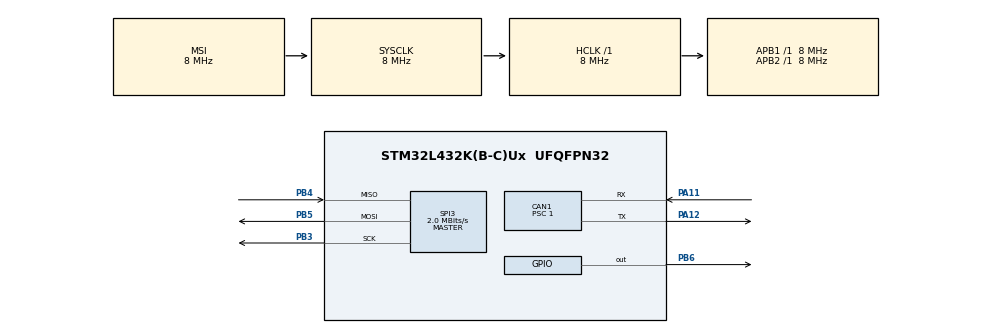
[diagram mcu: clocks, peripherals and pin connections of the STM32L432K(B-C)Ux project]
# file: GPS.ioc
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CAN1.BS1=CAN_BS1_13TQ
CAN1.BS2=CAN_BS2_2TQ
CAN1.CalculateBaudRate=500000
CAN1.CalculateTimeBit=2000
CAN1.CalculateTimeQuantum=125.0
CAN1.Prescaler=1
Mcu.Family=STM32L4
Mcu.Name=STM32L432K(B-C)Ux
Mcu.Package=UFQFPN32
NVIC.PriorityGroup=NVIC_PRIORITYGROUP_4
PA11.Mode=CAN_Activate
PA11.Signal=CAN1_RX
PA12.Mode=CAN_Activate
PA12.Signal=CAN1_TX
PB3\ (JTDO-TRACESWO).Mode=Full_Duplex_Master
PB3\ (JTDO-TRACESWO).Signal=SPI3_SCK
PB4\ (NJTRST).Mode=Full_Duplex_Master
PB4\ (NJTRST).Signal=SPI3_MISO
PB5.Mode=Full_Duplex_Master
PB5.Signal=SPI3_MOSI
PB6.PinState=GPIO_PIN_SET
PB6.Signal=GPIO_Output
ProjectManager.HeapSize=0x200
ProjectManager.StackSize=0x400
ProjectManager.TargetToolchain=STM32CubeIDE
RCC.ADCFreq_Value=32000000
RCC.AHBFreq_Value=8000000
RCC.APB1Freq_Value=8000000
RCC.APB1TimFreq_Value=8000000
RCC.APB2Freq_Value=8000000
RCC.APB2TimFreq_Value=8000000
RCC.CortexFreq_Value=8000000
RCC.HCLKFreq_Value=8000000
RCC.HSE_VALUE=8000000
RCC.HSI48_VALUE=48000000
RCC.HSI_VALUE=16000000
RCC.LSE_VALUE=32768
RCC.MSIClockRange=RCC_MSIRANGE_7
RCC.MSI_VALUE=8000000
RCC.SYSCLKFreq_VALUE=8000000
RCC.USBFreq_Value=32000000
RCC.VCOOutputFreq_Value=64000000
SPI3.BaudRatePrescaler=SPI_BAUDRATEPRESCALER_4
SPI3.CLKPhase=SPI_PHASE_1EDGE
SPI3.CLKPolarity=SPI_POLARITY_LOW
SPI3.CalculateBaudRate=2.0 MBits/s
SPI3.DataSize=SPI_DATASIZE_8BIT
SPI3.Direction=SPI_DIRECTION_2LINES
SPI3.Mode=SPI_MODE_MASTER
SPI3.VirtualType=VM_MASTER
board=custom

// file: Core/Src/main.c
/* USER CODE BEGIN Header */
/**
  ******************************************************************************
  * @file           : main.c
  * @brief          : Main program body
  ******************************************************************************
  * @attention
  *
  * Copyright (c) 2025 STMicroelectronics.
  * All rights reserved.
  *
  * This software is licensed under terms that can be found in the LICENSE file
  * in the root directory of this software component.
  * If no LICENSE file comes with this software, it is provided AS-IS.
  *
  ******************************************************************************
  */
/* USER CODE END Header */
#include "main.h"
#include "can.h"
#include "spi.h"
#include "gpio.h"

/* USER CODE BEGIN Includes */
#include "neo.h"
#include "string.h"
/* USER CODE END Includes */

/* USER CODE BEGIN PV */
uint8_t pollPVT[8] = {0xB5, 0x62, 0x01, 0x07, 0x00, 0x00, 0x08, 0x19};
uint8_t txData[100];
uint8_t rxData[100];
uint16_t len = 100;

uint8_t dummyTx[1000];
uint8_t dummyRx[1000];
uint16_t dummyLen = 1000;
float coords[2];
int status;

CAN_TxHeaderTypeDef NE_Vel_CTXHeader;
HAL_StatusTypeDef NE_Vel_Status;

CAN_TxHeaderTypeDef DHeading_CTXHeader;
HAL_StatusTypeDef DHeading_Status;

#define NE_Vel_ID 0x771;
#define DHeading_ID 0x781;

uint8_t NE_Vel_Tx[8];
uint8_t DHeading_Tx[8];

uint32_t mailbox;
/* USER CODE END PV */

void SystemClock_Config(void);
/* USER CODE BEGIN PFP */
void formNE_Vel_Frame();
void formDHeading_Frame();
/* USER CODE END PFP */

/* USER CODE BEGIN 0 */
void formNE_Vel_Frame() {
	// North Velocity
	NE_Vel_Tx[0] = rxData[54];
	NE_Vel_Tx[1] = rxData[55];
	NE_Vel_Tx[2] = rxData[56];
	NE_Vel_Tx[3] = rxData[57];

	// East Velocity
	NE_Vel_Tx[4] = rxData[58];
	NE_Vel_Tx[5] = rxData[59];
	NE_Vel_Tx[6] = rxData[60];
	NE_Vel_Tx[7] = rxData[61];
}

void formDHeading_Frame() {
	// Down Velocity
	DHeading_Tx[0] = rxData[62];
	DHeading_Tx[1] = rxData[63];
	DHeading_Tx[2] = rxData[64];
	DHeading_Tx[3] = rxData[65];

	// Heading Direction (need to scale by 1e-5)
	DHeading_Tx[4] = rxData[70];
	DHeading_Tx[5] = rxData[71];
	DHeading_Tx[6] = rxData[72];
	DHeading_Tx[7] = rxData[73];
}

/* USER CODE END 0 */

int main(void)
{

  /* MCU Configuration--------------------------------------------------------*/

  /* Reset of all peripherals, Initializes the Flash interface and the Systick. */
  HAL_Init();

  /* Configure the system clock */
  SystemClock_Config();

  /* Initialize all configured peripherals */
  MX_GPIO_Init();
  MX_SPI3_Init();
  MX_CAN1_Init();

  HAL_CAN_Start(&hcan1);
  /* USER CODE BEGIN 2 */

  memset(txData, 0xFF, len);
  memset(dummyTx, 0xFF, dummyLen);

  NE_Vel_CTXHeader.IDE = CAN_ID_STD;
  NE_Vel_CTXHeader.StdId = NE_Vel_ID;
  NE_Vel_CTXHeader.RTR = CAN_RTR_DATA;
  NE_Vel_CTXHeader.DLC = 8;

  DHeading_CTXHeader.IDE = CAN_ID_STD;
  DHeading_CTXHeader.StdId = DHeading_ID;
  DHeading_CTXHeader.RTR = CAN_RTR_DATA;
  DHeading_CTXHeader.DLC = 8;

  /* USER CODE END 2 */

  /* Infinite loop */
  /* USER CODE BEGIN WHILE */
  while (1)
  {
	  HAL_GPIO_WritePin(NEO_CS_PORT, NEO_CS_PIN, GPIO_PIN_RESET);
	  HAL_SPI_Transmit(&hspi3, pollPVT, 8, HAL_MAX_DELAY);
	  HAL_GPIO_WritePin(NEO_CS_PORT, NEO_CS_PIN, GPIO_PIN_SET);

	  HAL_Delay(100);

	  HAL_GPIO_WritePin(NEO_CS_PORT, NEO_CS_PIN, GPIO_PIN_RESET);
	  HAL_SPI_TransmitReceive(&hspi3, txData, rxData, len, HAL_MAX_DELAY);
	  HAL_GPIO_WritePin(NEO_CS_PORT, NEO_CS_PIN, GPIO_PIN_SET);

	  status = PVT_PARSE(rxData, coords);

	  if (status == 1) {
		  formNE_Vel_Frame();
		  formDHeading_Frame();

		  NE_Vel_Status = HAL_CAN_AddTxMessage(&hcan1, &NE_Vel_CTXHeader, NE_Vel_Tx, &mailbox);
		  DHeading_Status = HAL_CAN_AddTxMessage(&hcan1, &DHeading_CTXHeader, DHeading_Tx, &mailbox);
	  }

	  HAL_GPIO_WritePin(NEO_CS_PORT, NEO_CS_PIN, GPIO_PIN_RESET);
	  HAL_SPI_TransmitReceive(&hspi3, dummyTx, dummyRx, 1000, HAL_MAX_DELAY);
	  HAL_GPIO_WritePin(NEO_CS_PORT, NEO_CS_PIN, GPIO_PIN_SET);
    /* USER CODE END WHILE */

  }
}

void SystemClock_Config(void)
{
  RCC_OscInitTypeDef RCC_OscInitStruct = {0};
  RCC_ClkInitTypeDef RCC_ClkInitStruct = {0};

  /** Configure the main internal regulator output voltage
  */
  if (HAL_PWREx_ControlVoltageScaling(PWR_REGULATOR_VOLTAGE_SCALE1) != HAL_OK)
  {
    Error_Handler();
  }

  /** Initializes the RCC Oscillators according to the specified parameters
  * in the RCC_OscInitTypeDef structure.
  */
  RCC_OscInitStruct.OscillatorType = RCC_OSCILLATORTYPE_MSI;
  RCC_OscInitStruct.MSIState = RCC_MSI_ON;
  RCC_OscInitStruct.MSICalibrationValue = 0;
  RCC_OscInitStruct.MSIClockRange = RCC_MSIRANGE_7;
  RCC_OscInitStruct.PLL.PLLState = RCC_PLL_NONE;
  if (HAL_RCC_OscConfig(&RCC_OscInitStruct) != HAL_OK)
  {
    Error_Handler();
  }

  /** Initializes the CPU, AHB and APB buses clocks
  */
  RCC_ClkInitStruct.ClockType = RCC_CLOCKTYPE_HCLK|RCC_CLOCKTYPE_SYSCLK
                              |RCC_CLOCKTYPE_PCLK1|RCC_CLOCKTYPE_PCLK2;
  RCC_ClkInitStruct.SYSCLKSource = RCC_SYSCLKSOURCE_MSI;
  RCC_ClkInitStruct.AHBCLKDivider = RCC_SYSCLK_DIV1;
  RCC_ClkInitStruct.APB1CLKDivider = RCC_HCLK_DIV1;
  RCC_ClkInitStruct.APB2CLKDivider = RCC_HCLK_DIV1;

  if (HAL_RCC_ClockConfig(&RCC_ClkInitStruct, FLASH_LATENCY_0) != HAL_OK)
  {
    Error_Handler();
  }
}

void Error_Handler(void)
{
  __disable_irq();
  while (1)
  {
  }
}
